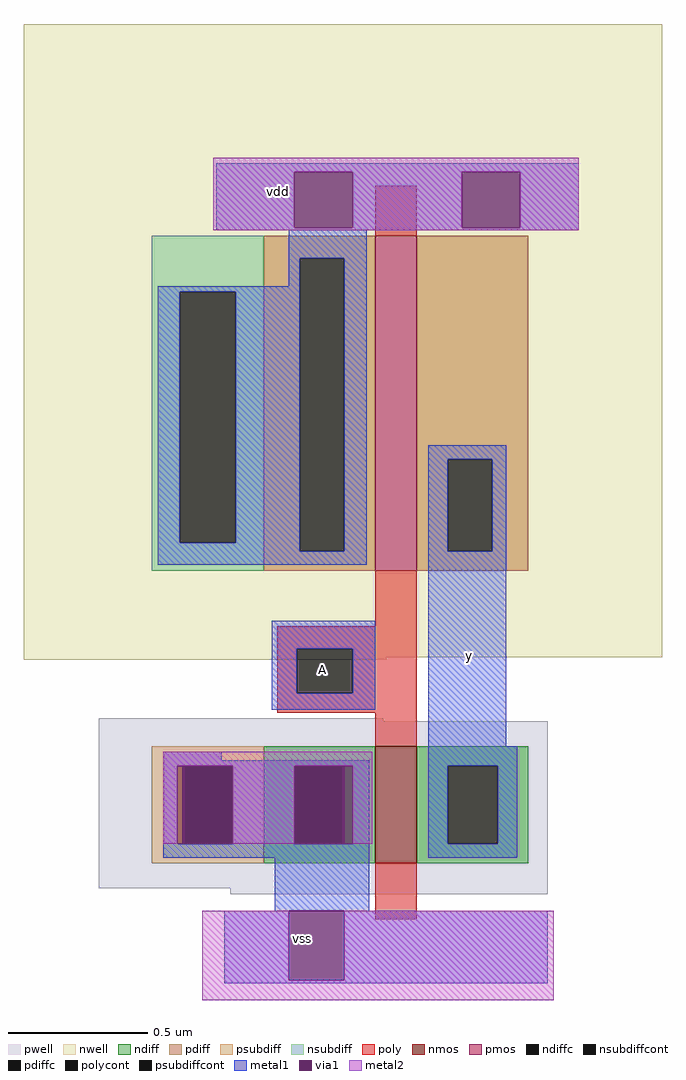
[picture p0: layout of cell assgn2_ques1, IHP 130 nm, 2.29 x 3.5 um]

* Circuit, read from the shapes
.subckt assgn2_ques1 A vdd vss y
XM1 y A vss vss sg13_lv_nmos w=0.42u l=0.15u
XM2 y A vdd vdd sg13_lv_pmos w=1.2u l=0.15u
.ends

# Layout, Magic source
magic
tech ihp-sg13g2
<< nwell >>
rect -96 -26 133 201
rect -96 -27 34 -26
<< pwell >>
rect -69 -49 33 -48
rect -69 -109 92 -49
rect -22 -111 92 -109
<< nmos >>
rect 30 -100 45 -58
<< pmos >>
rect 30 5 45 125
<< ndiff >>
rect -10 -65 30 -58
rect -10 -93 1 -65
rect 19 -93 30 -65
rect -10 -100 30 -93
rect 45 -65 85 -58
rect 45 -93 56 -65
rect 74 -93 85 -65
rect 45 -100 85 -93
<< pdiff >>
rect -10 117 30 125
rect -10 12 3 117
rect 19 12 30 117
rect -10 5 30 12
rect 45 45 85 125
rect 45 12 56 45
rect 72 12 85 45
rect 45 5 85 12
<< ndiffc >>
rect 1 -93 19 -65
rect 56 -93 74 -65
<< pdiffc >>
rect 3 12 19 117
rect 56 12 72 45
<< psubdiff >>
rect -50 -65 -10 -58
rect -50 -93 -39 -65
rect -21 -93 -10 -65
rect -50 -100 -10 -93
<< nsubdiff >>
rect -50 105 -10 125
rect -50 15 -40 105
rect -20 15 -10 105
rect -50 5 -10 15
<< psubdiffcont >>
rect -39 -93 -21 -65
<< nsubdiffcont >>
rect -40 15 -20 105
<< poly >>
rect 30 125 45 143
rect 30 -15 45 5
rect -5 -23 45 -15
rect -5 -39 2 -23
rect 22 -39 45 -23
rect -5 -46 45 -39
rect 30 -58 45 -46
rect 30 -120 45 -100
<< polycont >>
rect 2 -39 22 -23
<< metal1 >>
rect -27 148 103 151
rect -27 128 1 148
rect 22 128 61 148
rect 82 128 103 148
rect -27 127 103 128
rect -1 117 27 127
rect -1 107 3 117
rect -48 105 3 107
rect -48 15 -40 105
rect -20 15 3 105
rect -48 12 3 15
rect 19 12 27 117
rect -48 7 27 12
rect 49 45 77 50
rect 49 12 56 45
rect 72 12 77 45
rect -7 -23 30 -13
rect -7 -39 2 -23
rect 22 -39 30 -23
rect -7 -45 30 -39
rect 49 -58 77 12
rect -46 -63 -25 -60
rect -46 -65 28 -63
rect -46 -93 -41 -65
rect -21 -93 1 -65
rect 22 -93 28 -65
rect -46 -98 28 -93
rect 49 -65 81 -58
rect 49 -93 56 -65
rect 74 -93 81 -65
rect 49 -98 81 -93
rect -6 -117 28 -98
rect -24 -142 -1 -117
rect 19 -142 92 -117
rect -24 -143 92 -142
<< via1 >>
rect 1 128 22 148
rect 61 128 82 148
rect -41 -93 -39 -65
rect -39 -93 -21 -65
rect 1 -93 19 -65
rect 19 -93 22 -65
rect -1 -142 19 -117
<< metal2 >>
rect -28 148 103 153
rect -28 128 1 148
rect 22 128 61 148
rect 82 128 103 148
rect -28 127 103 128
rect -46 -65 29 -60
rect -46 -93 -41 -65
rect -21 -93 1 -65
rect 22 -93 29 -65
rect -32 -142 -1 -117
rect 19 -142 94 -117
rect -32 -149 94 -142
<< labels >>
flabel metal1 -5 -38 27 -23 0 FreeSans 80 0 0 0 A
port 1 nsew
flabel nwell -15 134 6 148 0 FreeSans 80 0 0 0 vdd
port 6 nsew
flabel metal2 -9 -136 17 -118 0 FreeSans 80 0 0 0 vss
port 7 nsew
flabel metal1 59 -40 69 -11 0 FreeSans 80 0 0 0 y
flabel metal1 59 -42 70 -15 0 FreeSans 80 0 0 0 y
port 8 nsew
<< end >>
